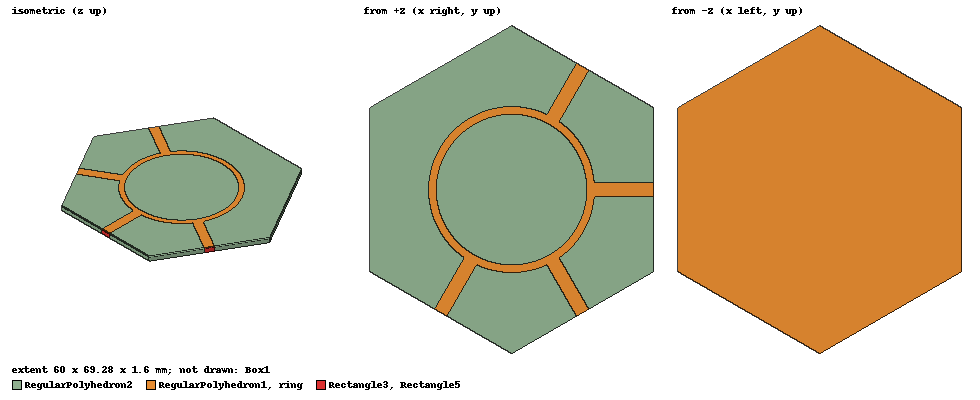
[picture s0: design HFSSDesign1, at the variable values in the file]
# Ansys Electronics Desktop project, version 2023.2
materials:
  vacuum: permittivity=1
  FR4_epoxy: permittivity=4.4 dielectric_loss_tangent=0.02
  air: permittivity=1.0006 permeability=1.0000004

design HFSSDesign1 (HFSS, HFSS Terminal Network, model units mm)
options: Allow_Material_Override
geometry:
  Circle1 = circle(normal=Z, centre=(0mm, 0mm, 0mm), radius=17.52mm)
  Circle2 = circle(normal=Z, centre=(0mm, 0mm, 0mm), radius=15.9mm)
  Circle1.subtract(Circle2)
  Rectangle1 = rectangle(corner=(-1.5mm, -30mm, 0mm), x_size=3mm, y_size=14mm)
  Rectangle1_1 = Rectangle1.duplicate_around_axis(axis=Z, angle=30deg, total=2)
  ring = Rectangle1.duplicate_around_axis(axis=Z, angle=-30deg, total=2)
  Rectangle1_3 = Rectangle1.duplicate_around_axis(axis=Z, angle=-90deg, total=2)
  Rectangle1_4 = Rectangle1.duplicate_around_axis(axis=Z, angle=90deg, total=2)
  Rectangle1.delete()
  ring.unite(Rectangle1_1, Circle1, Rectangle1_3, Rectangle1_4)
  ring.rotate(axis=Z, angle=30deg)
  RegularPolyhedron1 [vacuum] = polyhedron(axis=Z, centre=(0mm, 0mm, 0mm), first_corner=(30mm/cos(30*pi/180), 0mm, 0mm), sides=6, height=0mm)
  RegularPolyhedron2 [FR4_epoxy] = polyhedron(axis=Z, centre=(0mm, 0mm, 0mm), first_corner=(30mm/cos(30*pi/180), 0mm, 0mm), sides=6, height=-1.6mm)
  RegularPolyhedron1.move(0mm, 0mm, -1.6mm)
  Rectangle2 = rectangle(corner=(-1.5mm, -30mm, 0mm), z_size=-1.6mm, x_size=3mm)
  [ring, RegularPolyhedron1, RegularPolyhedron2, Rectangle2].rotate(axis=Z, angle=30deg)
  Rectangle3 = rectangle(corner=(30mm, -1.5mm, 0mm), y_size=3mm, z_size=-1.6mm)
  RegularPolyhedron2.rotate(axis=Z, angle=30deg)
  ring.rotate(axis=Z, angle=30deg)
  RegularPolyhedron1.rotate(axis=Z, angle=30deg)
  Rectangle2.rotate(axis=Z, angle=30deg)
  Rectangle3.rotate(axis=Z, angle=30deg)
  ring.rotate(axis=Z, angle=30deg)
  RegularPolyhedron1.rotate(axis=Z, angle=30deg)
  RegularPolyhedron2.rotate(axis=Z, angle=30deg)
  Rectangle2.rotate(axis=Z, angle=30deg)
  Rectangle3.rotate(axis=Z, angle=30deg)
  ring.rotate(axis=Z, angle=30deg)
  RegularPolyhedron1.rotate(axis=Z, angle=30deg)
  RegularPolyhedron2.rotate(axis=Z, angle=30deg)
  Rectangle2.rotate(axis=Z, angle=30deg)
  Rectangle3.rotate(axis=Z, angle=30deg)
  [ring, RegularPolyhedron1, RegularPolyhedron2, Rectangle2, Rectangle3].rotate(axis=Z, angle=30deg)
  Rectangle4 = rectangle(corner=(30mm, -1.5mm, 0mm), y_size=3mm, z_size=-1.6mm)
  Rectangle5 = rectangle(corner=(-30mm, 1.5mm, 0mm), y_size=-3mm, z_size=-1.6mm)
  [ring, RegularPolyhedron1, RegularPolyhedron2, Rectangle2..Rectangle5].rotate(axis=Z, angle=60deg)
  [ring, RegularPolyhedron1, RegularPolyhedron2, Rectangle2..Rectangle5].rotate(axis=Z, angle=180deg)
  Box1 [air] = box(corner=(-50mm, -50mm, -50mm), size=(100mm, 100mm, 100mm))
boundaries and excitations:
  PerfE1: Perfect E Objects=ring
  PerfE2: Perfect E Objects=RegularPolyhedron1
  Rad1: Radiation Objects=Box1
  1: Lumped Port Objects=Rectangle2 LumpedPortType=Modal Modes{Mode1{IntLine{(15, -25.980762, 0) -> (15, -25.980762, -1.6)} CharImp=Zpi}} Impedance=50ohm
  3: Lumped Port Objects=Rectangle3 LumpedPortType=Modal Modes{Mode1{IntLine{(30, 0, 0) -> (30, -0.2, -1.6)} CharImp=Zpi}} Impedance=50ohm
  2: Lumped Port Objects=Rectangle4 LumpedPortType=Modal Modes{Mode1{IntLine{(-15, -25.980762, -1.6) -> (-15, -25.980762, 0)} CharImp=Zpi}} Impedance=50ohm
  4: Lumped Port Objects=Rectangle5 LumpedPortType=Modal Modes{Mode1{IntLine{(15, 25.980762, -1.6) -> (15, 25.980762, 0)} CharImp=Zpi}} Impedance=50ohm
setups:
  Setup1: HfssDriven Frequency=2.4GHz MaxDeltaS=0.02 MaximumPasses=6 MinimumPasses=1 MinimumConvergedPasses=1 PercentRefinement=30 BasisOrder=1 PortAccuracy=2 DrivenSolverType="Direct Solver"
    sweep Sweep: 1GHz to 5GHz, 100 points; Type=Interpolating InterpTolerance=0.5 InterpMaxSolns=250 PassivityErrorTolerance=0.0001
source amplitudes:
  1:1: 1V 0deg
  3:1, 2:1, 4:1: 0V 0deg
